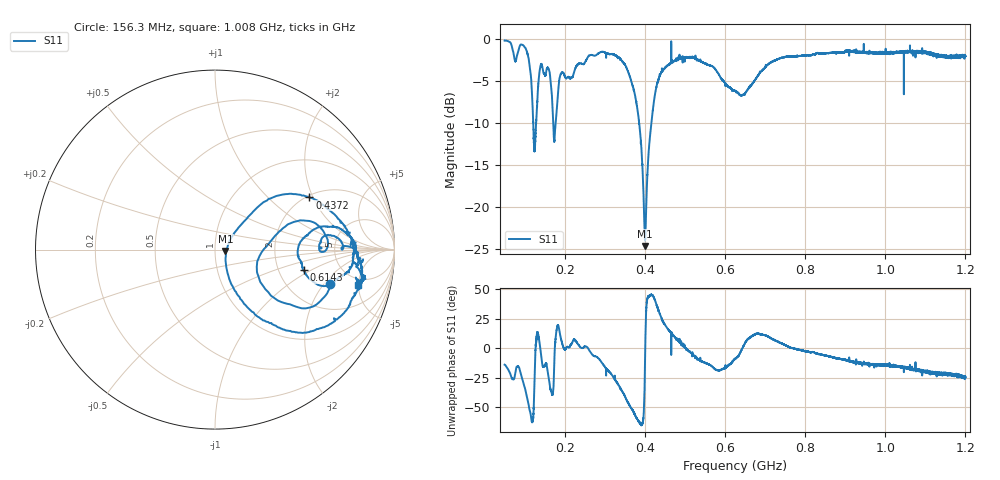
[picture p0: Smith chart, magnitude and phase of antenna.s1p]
! Calibrated high-resolution NanoVNA antenna measurement
# Hz S RI R 50
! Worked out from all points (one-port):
!   40001 points, 50 MHz to 1.2 GHz, reference 50 ohm
!   lowest |S11| = -24.7 dB at 400.8 MHz (marker M1), VSWR 1.12, Z = 56.1 - j0.859 ohm
!   |S11| at or under -10 dB: 121.4 MHz to 128.6 MHz (7.145 MHz wide, 5.72 % of centre); 171.5 MHz to 177.4 MHz (5.879 MHz wide, 3.37 % of centre); 385.8 MHz to 416.2 MHz (30.46 MHz wide, 7.6 % of centre)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
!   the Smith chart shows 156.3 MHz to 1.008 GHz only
!   S11 on the Smith chart (normalised r, x): 156.3 MHz: 3.32, -2.32; 437.2 MHz: 2.07, +1.88; 614.3 MHz: 2.76, -0.86; 1.008 GHz: 3.73, -4.84
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5e7  0.9451 -0.2353
7.469625e7  0.6885 -0.3193
9.44475e7  0.8223 -0.4111
1.110938e8  0.4695 -0.5629
1.21645e8  0.1594 -0.2541
1.32915e8  0.4742 0.1071
1.404188e8  0.6985 -0.0492
1.562888e8  0.6406 -0.1927
1.656325e8  0.4317 -0.3104
1.739412e8  0.2392 -0.0546
1.829112e8  0.4348 0.1514
1.9375e8  0.6296 0.0423
2.90235e8  0.8172 -0.161
3.375e8  0.6384 -0.4159
3.784688e8  0.2201 -0.3601
4.008362e8  0.0579 -0.00763
4.173962e8  0.237 0.236
4.371762e8  0.5261 0.2908
4.8125e8  0.7468 0.0933
5.743138e8  0.6347 -0.2007
6.142762e8  0.4948 -0.1154
6.25e8  0.4839 -0.0771
6.8388e8  0.5985 0.1281
7.6875e8  0.7836 -0.00256
9.125e8  0.8279 -0.166
1.008266e9  0.7936 -0.2115
1.05625e9  0.8002 -0.2451
1.2e9  0.7155 -0.3284
